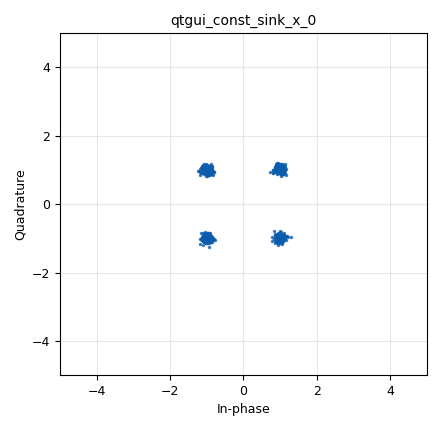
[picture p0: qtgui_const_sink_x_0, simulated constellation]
<?xml version='1.0' encoding='utf-8'?>
<?grc format='1' created='3.7.13'?>
<flow_graph>
<block>
<key>options</key>
<param><key>id</key><value>BPSK_SER_simulation</value></param>
<param><key>generate_options</key><value>qt_gui</value></param>
</block>
<block>
<key>variable</key>
<param><key>id</key><value>QPSK_MAP</value></param>
<param><key>value</key><value>[-1-1j, 1-1j, -1+1j, 1+1j]</value></param>
</block>
<block>
<key>variable_qtgui_range</key>
<param><key>id</key><value>SNR</value></param>
<param><key>value</key><value>10</value></param>
<param><key>label</key><value>SNR (dB)</value></param>
<param><key>orient</key><value>Qt.Horizontal</value></param>
<param><key>start</key><value>-15</value></param>
<param><key>step</key><value>1</value></param>
<param><key>stop</key><value>20</value></param>
</block>
<block>
<key>variable</key>
<param><key>id</key><value>modulation</value></param>
<param><key>value</key><value>digital.constellation_bpsk().base()</value></param>
</block>
<block>
<key>variable</key>
<param><key>id</key><value>samp_rate</value></param>
<param><key>value</key><value>32e4</value></param>
</block>
<block>
<key>virtual_sink</key>
<param><key>id</key><value>GT_sink</value></param>
<param><key>stream_id</key><value>GT</value></param>
</block>
<block>
<key>virtual_source</key>
<param><key>id</key><value>GT_src</value></param>
<param><key>stream_id</key><value>GT</value></param>
</block>
<block>
<key>virtual_sink</key>
<param><key>id</key><value>Receiver_snk</value></param>
<param><key>stream_id</key><value>Receiver</value></param>
</block>
<block>
<key>virtual_source</key>
<param><key>id</key><value>Receiver_src</value></param>
<param><key>stream_id</key><value>Receiver</value></param>
</block>
<block>
<key>virtual_source</key>
<param><key>id</key><value>Transmitter_Src</value></param>
<param><key>stream_id</key><value>Transmitter</value></param>
</block>
<block>
<key>virtual_sink</key>
<param><key>id</key><value>Transmitter_snk</value></param>
<param><key>stream_id</key><value>Transmitter</value></param>
</block>
<block>
<key>analog_noise_source_x</key>
<param><key>id</key><value>analog_noise_source_x_0</value></param>
<param><key>amp</key><value>(10**(-SNR/10))</value></param>
<param><key>noise_type</key><value>analog.GR_GAUSSIAN</value></param>
<param><key>type</key><value>complex</value></param>
<param><key>seed</key><value>42</value></param>
</block>
<block>
<key>analog_random_source_x</key>
<param><key>id</key><value>analog_random_source_x_0_0</value></param>
<param><key>max</key><value>4</value></param>
<param><key>min</key><value>0</value></param>
<param><key>num_samps</key><value>1000</value></param>
<param><key>type</key><value>byte</value></param>
<param><key>repeat</key><value>True</value></param>
</block>
<block>
<key>blocks_add_xx</key>
<param><key>id</key><value>blocks_add_xx_0</value></param>
<param><key>type</key><value>complex</value></param>
</block>
<block>
<key>blocks_throttle</key>
<param><key>id</key><value>blocks_throttle_0_0</value></param>
<param><key>samples_per_second</key><value>samp_rate</value></param>
<param><key>type</key><value>complex</value></param>
</block>
<block>
<key>digital_chunks_to_symbols_xx</key>
<param><key>id</key><value>digital_chunks_to_symbols_xx_0_0</value></param>
<param><key>dimension</key><value>1</value></param>
<param><key>in_type</key><value>byte</value></param>
<param><key>out_type</key><value>complex</value></param>
<param><key>symbol_table</key><value>QPSK_MAP</value></param>
</block>
<block>
<key>digital_constellation_decoder_cb</key>
<param><key>id</key><value>digital_constellation_decoder_cb_1</value></param>
<param><key>constellation</key><value>modulation</value></param>
<param><key>_enabled</key><value>0</value></param>
</block>
<block>
<key>epy_block</key>
<param><key>id</key><value>epy_block_0</value></param>
<param><key>_source_code</key><value>"""
Embedded Python Blocks:

Each time this file is saved, GRC will instantiate the first class it finds
to get ports and parameters of your block. The arguments to __init__  will
be the parameters. All of them are required to have default values!
"""

import numpy as np
from gnuradio import gr


class blk(gr.sync_block):  # other base classes are basic_block, decim_block, interp_block
    """Embedded Python Block example - a simple multiply const"""

    def __init__(self, window_size=10000):  # only default arguments here
        """arguments to this function show up as parameters in GRC"""
        gr.sync_block.__init__(
            self,
            name='BER',   # will show up in GRC
            in_sig=[np.byte, np.byte],
            out_sig=[np.float32]
        )
     
	self.window_size = int(window_size)
	self.window = np.zeros(int(window_size))
	
	# you can add any necessary member variables you like here


    def work(self, input_items, output_items):
        """example: multiply with constant"""
	# add your code to compute the BER below
	# input_items is of size (2, ?), where 2 is for the two input streams
	# note that, the two input streams are both of data type numpy.byte
	# output_items is of size (1, ?)
	###############################################
	




	###############################################
	BER = sum(self.window) / self.window_size
	output_items[0][:] = np.ones(len(input_items[0][:])) * BER
        return len(output_items[0])
</value></param>
<param><key>window_size</key><value>1e6</value></param>
</block>
<block>
<key>epy_block</key>
<param><key>id</key><value>epy_block_0_0</value></param>
<param><key>_source_code</key><value>"""
Embedded Python Blocks:

Each time this file is saved, GRC will instantiate the first class it finds
to get ports and parameters of your block. The arguments to __init__  will
be the parameters. All of them are required to have default values!
"""

import numpy as np
from gnuradio import gr


class blk(gr.sync_block):  # other base classes are basic_block, decim_block, interp_block
    """Embedded Python Block example - a simple multiply const"""

    def __init__(self):  # only default arguments here
        """arguments to this function show up as parameters in GRC"""
        gr.sync_block.__init__(
            self,
            name='QPSK Decoder',   # block name
            in_sig=[np.complex64], # input data type
            out_sig=[np.byte]	   # output data type
        )

    def work(self, input_items, output_items):
        """example: multiply with constant"""
	# add your decoding method here
	# the number of input samples should always be the same as the number of output
	#	
	# input_items is of size (1, ?)
	# output items if of size (1, len(input_items[0])) 
	########################################
        output_items[0][:] = input_items[0].real
	
	

	#######################################
        return len(output_items[0])
</value></param>
</block>
<block>
<key>import</key>
<param><key>id</key><value>import_0</value></param>
<param><key>import</key><value>import math</value></param>
</block>
<block>
<key>qtgui_const_sink_x</key>
<param><key>id</key><value>qtgui_const_sink_x_0</value></param>
<param><key>size</key><value>1024</value></param>
<param><key>type</key><value>complex</value></param>
<param><key>xmax</key><value>5</value></param>
<param><key>xmin</key><value>-5</value></param>
<param><key>ymax</key><value>5</value></param>
<param><key>ymin</key><value>-5</value></param>
</block>
<block>
<key>qtgui_number_sink</key>
<param><key>id</key><value>qtgui_number_sink_0</value></param>
<param><key>graph_type</key><value>qtgui.NUM_GRAPH_HORIZ</value></param>
<param><key>type</key><value>float</value></param>
<param><key>min</key><value>-0.1</value></param>
<param><key>name</key><value>"Bit Error Rate"</value></param>
</block>
<connection><source_block_id>GT_src</source_block_id><sink_block_id>epy_block_0</sink_block_id><source_key>0</source_key><sink_key>1</sink_key></connection>
<connection><source_block_id>Receiver_src</source_block_id><sink_block_id>digital_constellation_decoder_cb_1</sink_block_id><source_key>0</source_key><sink_key>0</sink_key></connection>
<connection><source_block_id>Receiver_src</source_block_id><sink_block_id>epy_block_0_0</sink_block_id><source_key>0</source_key><sink_key>0</sink_key></connection>
<connection><source_block_id>Transmitter_Src</source_block_id><sink_block_id>blocks_add_xx_0</sink_block_id><source_key>0</source_key><sink_key>0</sink_key></connection>
<connection><source_block_id>analog_noise_source_x_0</source_block_id><sink_block_id>blocks_add_xx_0</sink_block_id><source_key>0</source_key><sink_key>1</sink_key></connection>
<connection><source_block_id>analog_random_source_x_0_0</source_block_id><sink_block_id>GT_sink</sink_block_id><source_key>0</source_key><sink_key>0</sink_key></connection>
<connection><source_block_id>analog_random_source_x_0_0</source_block_id><sink_block_id>digital_chunks_to_symbols_xx_0_0</sink_block_id><source_key>0</source_key><sink_key>0</sink_key></connection>
<connection><source_block_id>blocks_add_xx_0</source_block_id><sink_block_id>Receiver_snk</sink_block_id><source_key>0</source_key><sink_key>0</sink_key></connection>
<connection><source_block_id>blocks_add_xx_0</source_block_id><sink_block_id>qtgui_const_sink_x_0</sink_block_id><source_key>0</source_key><sink_key>0</sink_key></connection>
<connection><source_block_id>blocks_throttle_0_0</source_block_id><sink_block_id>Transmitter_snk</sink_block_id><source_key>0</source_key><sink_key>0</sink_key></connection>
<connection><source_block_id>digital_chunks_to_symbols_xx_0_0</source_block_id><sink_block_id>blocks_throttle_0_0</sink_block_id><source_key>0</source_key><sink_key>0</sink_key></connection>
<connection><source_block_id>digital_constellation_decoder_cb_1</source_block_id><sink_block_id>epy_block_0</sink_block_id><source_key>0</source_key><sink_key>0</sink_key></connection>
<connection><source_block_id>epy_block_0</source_block_id><sink_block_id>qtgui_number_sink_0</sink_block_id><source_key>0</source_key><sink_key>0</sink_key></connection>
<connection><source_block_id>epy_block_0_0</source_block_id><sink_block_id>epy_block_0</sink_block_id><source_key>0</source_key><sink_key>0</sink_key></connection>
</flow_graph>
